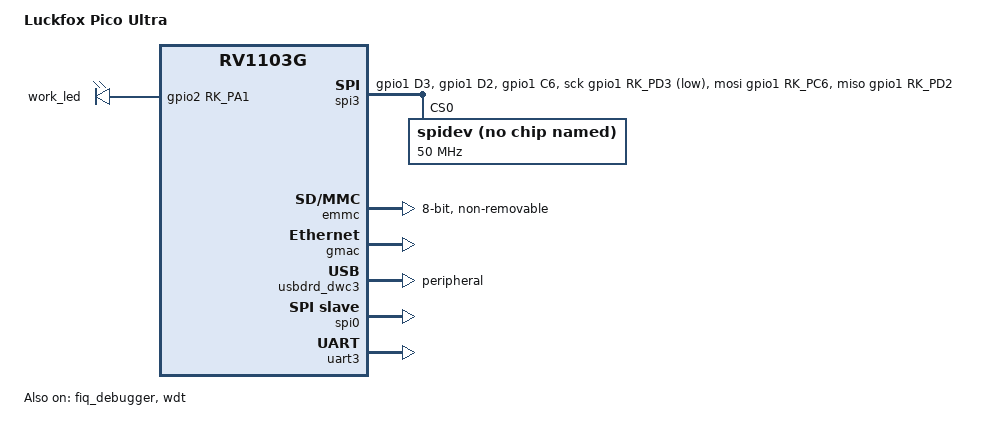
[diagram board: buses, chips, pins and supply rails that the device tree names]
// SPDX-License-Identifier: (GPL-2.0+ OR MIT)
/*
 * Copyright (c) 2022 Rockchip Electronics Co., Ltd.
 */

/dts-v1/;
#include "rv1106.dtsi"
#include "rv1106-luckfox-pico-ultra-ipc.dtsi"
#include <dt-bindings/input/input.h>
#include <dt-bindings/display/media-bus-format.h>

/ {
	model = "Luckfox Pico Ultra";
	compatible = "rockchip,rv1103g-38x38-ipc-v10", "rockchip,rv1106g3";

	spi3: spi@gpiol {
		compatible = "spi-gpio";
		#address-cells = <1>;
		gpio-sck = <&gpio1 RK_PD3 GPIO_ACTIVE_LOW>;
		gpio-miso = <&gpio1 RK_PD2 GPIO_ACTIVE_HIGH>;
		gpio-mosi = <&gpio1 RK_PC6 GPIO_ACTIVE_HIGH>;
		num-chipselects = <0>;
		pinctrl-names = "default";
		pinctrl-0 = <&spi3gpio_pins>;
		status = "disabled";
	};
};

/**********CRU**********/
&cru {
	assigned-clocks =
		<&cru PLL_GPLL>, <&cru PLL_CPLL>,
		<&cru ARMCLK>,
		<&cru ACLK_PERI_ROOT>, <&cru HCLK_PERI_ROOT>,
		<&cru PCLK_PERI_ROOT>, <&cru ACLK_BUS_ROOT>,
		<&cru PCLK_TOP_ROOT>, <&cru PCLK_PMU_ROOT>,
		<&cru HCLK_PMU_ROOT>, <&cru CLK_500M_SRC>;
	assigned-clock-rates =
		<1188000000>, <700000000>,
		<1104000000>,
		<400000000>, <200000000>,
		<100000000>, <300000000>,
		<100000000>, <100000000>,
		<200000000>, <700000000>;
};

/**********NPU**********/
&npu {
	assigned-clock-rates = <700000000>;
};

/**********EMMC**********/
&emmc {
	bus-width = <8>;
	cap-mmc-highspeed;
	non-removable;
	// mmc-hs200-1_8v;
	rockchip,default-sample-phase = <90>;
	no-sdio;
	no-sd;
	memory-region-ecsd = <&mmc_ecsd>;
	post-power-on-delay-ms = <0>;
	status = "okay";
};

&fiq_debugger {
	rockchip,irq-mode-enable = <1>;
	status = "okay";
};

/**********ETH**********/
&gmac {
	status = "okay";
};

/**********USB**********/
&usbdrd_dwc3 {
	status = "okay";
	dr_mode = "peripheral";
};

/**********RTC**********/
&rtc {
	status = "disabled";
};

/**********SPI**********/
&spi0 {
	status = "disabled";
	spidev@0 {
		spi-max-frequency = <50000000>;
	};
};

&i2c4 {
	status = "disabled";
};

&uart3 {
	status = "okay";
	pinctrl-names = "default";
	pinctrl-0 = <&uart3m0_xfer>;
};

&display_subsystem {
	status = "disabled";
};

&rgb {
	status = "disabled";
};

&rgb_in_vop {
	status = "disabled";
};

&vop {
	status = "disabled";
};

&spi0 {
	status = "okay";
	spi-slave;
	slave {
		compatible ="rockchip,spidev";
		reg = <0>;
		id = <0>;
	};
};

&pinctrl {
	spi3 {
		spi3gpio_pins: spi3gpio_pins {
			rockchip,pins =
				<1 RK_PD3 0 &pcfg_pull_none>,
				<1 RK_PD2 0 &pcfg_pull_none>,
				<1 RK_PC6 0 &pcfg_pull_none>;
		};
	};
};

&spi3 {
	status = "okay";
	spidev@0 {
		compatible = "rockchip,spidev";
		spi-max-frequency = <50000000>;
		reg = <0>;
		status = "okay";
	};
};

&work_led{
	gpios = <&gpio2 RK_PA1 GPIO_ACTIVE_HIGH>;
};

&csi2_dphy_hw {
	status = "disabled";
};

&csi2_dphy0 {
	status = "disabled";
};

&mipi0_csi2 {
	status = "disabled";
};

&rkcif {
	status = "disabled";
};

&rkcif_mipi_lvds {
	status = "disabled";
};

&rkcif_mipi_lvds_sditf {
	status = "disabled";
};

&rkisp {
	status = "disabled";
};

&rkisp_vir0 {
	status = "disabled";
};

&wdt {
	status = "okay";
};
